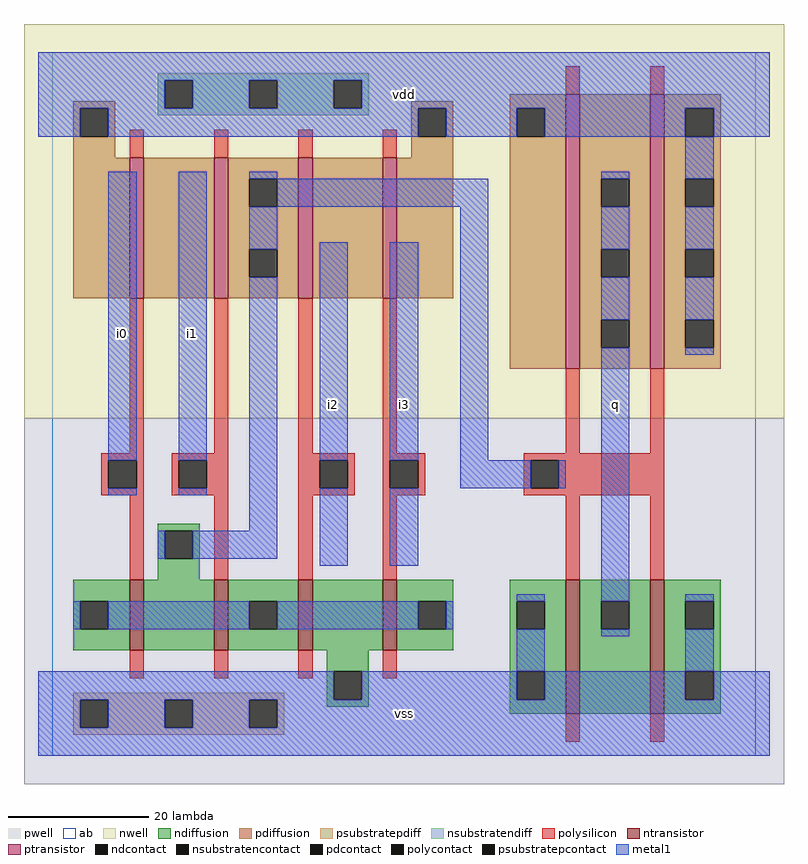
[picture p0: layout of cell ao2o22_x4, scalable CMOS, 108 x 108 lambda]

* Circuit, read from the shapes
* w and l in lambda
.subckt ao2o22_x4 i0 i1 i2 i3 q vdd vss
M1 n1 i0 n2 vss nfet w=10 l=2
M2 n2 i1 n1 vss nfet w=10 l=2
M3 vss i2 n2 vss nfet w=10 l=2
M4 n2 i3 vss vss nfet w=10 l=2
M5 q n1 vss vss nfet w=19 l=2 m=2
M6 n3 i0 vdd vdd pfet w=20 l=2
M7 n1 i1 n3 vdd pfet w=20 l=2
M8 n4 i2 n1 vdd pfet w=20 l=2
M9 vdd i3 n4 vdd pfet w=20 l=2
M10 q n1 vdd vdd pfet w=39 l=2 m=2
.ends

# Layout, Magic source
magic
tech scmos
<< ab >>
rect 0 0 100 100
<< pwell >>
rect -4 -4 104 48
<< nwell >>
rect -4 48 104 104
<< polysilicon >>
rect 73 94 75 98
rect 85 94 87 98
rect 11 85 13 89
rect 23 85 25 89
rect 35 85 37 89
rect 47 85 49 89
rect 11 43 13 65
rect 23 43 25 65
rect 7 42 13 43
rect 7 38 8 42
rect 12 38 13 42
rect 7 37 13 38
rect 17 42 25 43
rect 17 38 18 42
rect 22 38 25 42
rect 17 37 25 38
rect 11 25 13 37
rect 23 25 25 37
rect 35 43 37 65
rect 47 43 49 65
rect 73 43 75 55
rect 85 43 87 55
rect 35 42 43 43
rect 35 38 38 42
rect 42 38 43 42
rect 35 37 43 38
rect 47 42 53 43
rect 47 38 48 42
rect 52 38 53 42
rect 47 37 53 38
rect 67 42 87 43
rect 67 38 68 42
rect 72 38 87 42
rect 67 37 87 38
rect 35 25 37 37
rect 47 25 49 37
rect 73 25 75 37
rect 85 25 87 37
rect 11 11 13 15
rect 23 11 25 15
rect 35 11 37 15
rect 47 11 49 15
rect 73 2 75 6
rect 85 2 87 6
<< ndiffusion >>
rect 15 32 21 33
rect 15 28 16 32
rect 20 28 21 32
rect 15 25 21 28
rect 3 22 11 25
rect 3 18 4 22
rect 8 18 11 22
rect 3 15 11 18
rect 13 15 23 25
rect 25 22 35 25
rect 25 18 28 22
rect 32 18 35 22
rect 25 15 35 18
rect 37 15 47 25
rect 49 22 57 25
rect 49 18 52 22
rect 56 18 57 22
rect 49 15 57 18
rect 65 22 73 25
rect 65 18 66 22
rect 70 18 73 22
rect 39 12 45 15
rect 39 8 40 12
rect 44 8 45 12
rect 65 12 73 18
rect 39 7 45 8
rect 65 8 66 12
rect 70 8 73 12
rect 65 6 73 8
rect 75 22 85 25
rect 75 18 78 22
rect 82 18 85 22
rect 75 6 85 18
rect 87 22 95 25
rect 87 18 90 22
rect 94 18 95 22
rect 87 12 95 18
rect 87 8 90 12
rect 94 8 95 12
rect 87 6 95 8
<< pdiffusion >>
rect 3 92 9 93
rect 3 88 4 92
rect 8 88 9 92
rect 51 92 57 93
rect 3 85 9 88
rect 51 88 52 92
rect 56 88 57 92
rect 51 85 57 88
rect 3 65 11 85
rect 13 65 23 85
rect 25 82 35 85
rect 25 78 28 82
rect 32 78 35 82
rect 25 72 35 78
rect 25 68 28 72
rect 32 68 35 72
rect 25 65 35 68
rect 37 65 47 85
rect 49 65 57 85
rect 65 92 73 94
rect 65 88 66 92
rect 70 88 73 92
rect 65 55 73 88
rect 75 82 85 94
rect 75 78 78 82
rect 82 78 85 82
rect 75 72 85 78
rect 75 68 78 72
rect 82 68 85 72
rect 75 62 85 68
rect 75 58 78 62
rect 82 58 85 62
rect 75 55 85 58
rect 87 92 95 94
rect 87 88 90 92
rect 94 88 95 92
rect 87 82 95 88
rect 87 78 90 82
rect 94 78 95 82
rect 87 72 95 78
rect 87 68 90 72
rect 94 68 95 72
rect 87 62 95 68
rect 87 58 90 62
rect 94 58 95 62
rect 87 55 95 58
<< metal1 >>
rect -2 96 102 100
rect -2 92 16 96
rect 20 92 28 96
rect 32 92 40 96
rect 44 92 102 96
rect -2 88 4 92
rect 8 88 52 92
rect 56 88 66 92
rect 70 88 90 92
rect 94 88 102 92
rect 8 42 12 83
rect 8 37 12 38
rect 18 42 22 83
rect 18 37 22 38
rect 28 82 32 83
rect 78 82 82 83
rect 32 78 62 82
rect 28 72 32 78
rect 28 32 32 68
rect 15 28 16 32
rect 20 28 32 32
rect 38 42 42 73
rect 38 27 42 38
rect 48 42 52 73
rect 58 42 62 78
rect 78 72 82 78
rect 78 62 82 68
rect 58 38 68 42
rect 72 38 73 42
rect 48 27 52 38
rect 66 22 70 23
rect 3 18 4 22
rect 8 18 28 22
rect 32 18 52 22
rect 56 18 57 22
rect 66 12 70 18
rect 78 22 82 58
rect 90 82 94 88
rect 90 72 94 78
rect 90 62 94 68
rect 90 57 94 58
rect 78 17 82 18
rect 90 22 94 23
rect 90 12 94 18
rect -2 8 40 12
rect 44 8 66 12
rect 70 8 90 12
rect 94 8 102 12
rect -2 4 4 8
rect 8 4 16 8
rect 20 4 28 8
rect 32 4 102 8
rect -2 0 102 4
<< ntransistor >>
rect 11 15 13 25
rect 23 15 25 25
rect 35 15 37 25
rect 47 15 49 25
rect 73 6 75 25
rect 85 6 87 25
<< ptransistor >>
rect 11 65 13 85
rect 23 65 25 85
rect 35 65 37 85
rect 47 65 49 85
rect 73 55 75 94
rect 85 55 87 94
<< polycontact >>
rect 8 38 12 42
rect 18 38 22 42
rect 38 38 42 42
rect 48 38 52 42
rect 68 38 72 42
<< ndcontact >>
rect 16 28 20 32
rect 4 18 8 22
rect 28 18 32 22
rect 52 18 56 22
rect 66 18 70 22
rect 40 8 44 12
rect 66 8 70 12
rect 78 18 82 22
rect 90 18 94 22
rect 90 8 94 12
<< pdcontact >>
rect 4 88 8 92
rect 52 88 56 92
rect 28 78 32 82
rect 28 68 32 72
rect 66 88 70 92
rect 78 78 82 82
rect 78 68 82 72
rect 78 58 82 62
rect 90 88 94 92
rect 90 78 94 82
rect 90 68 94 72
rect 90 58 94 62
<< psubstratepcontact >>
rect 4 4 8 8
rect 16 4 20 8
rect 28 4 32 8
<< nsubstratencontact >>
rect 16 92 20 96
rect 28 92 32 96
rect 40 92 44 96
<< psubstratepdiff >>
rect 3 8 33 9
rect 3 4 4 8
rect 8 4 16 8
rect 20 4 28 8
rect 32 4 33 8
rect 3 3 33 4
<< nsubstratendiff >>
rect 15 96 45 97
rect 15 92 16 96
rect 20 92 28 96
rect 32 92 40 96
rect 44 92 45 96
rect 15 91 45 92
<< labels >>
rlabel metal1 10 60 10 60 6 i0
rlabel metal1 20 60 20 60 6 i1
rlabel metal1 40 50 40 50 6 i2
rlabel metal1 50 6 50 6 6 vss
rlabel metal1 50 50 50 50 6 i3
rlabel metal1 50 94 50 94 6 vdd
rlabel metal1 80 50 80 50 6 q
<< end >>
